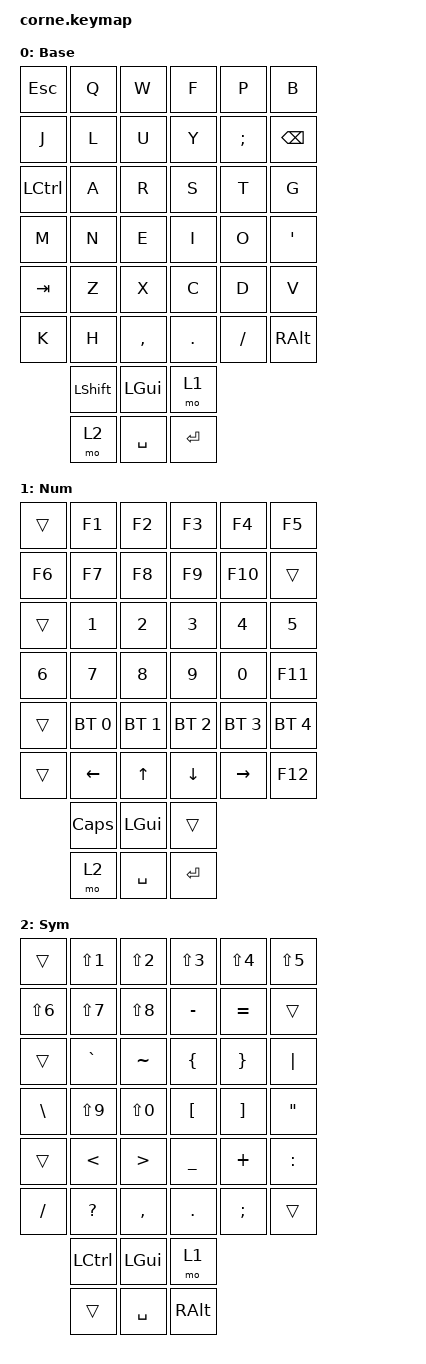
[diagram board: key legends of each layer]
/*
 * Copyright (c) 2020 The ZMK Contributors
 *
 * SPDX-License-Identifier: MIT
 */

#include <behaviors.dtsi>
#include <dt-bindings/zmk/keys.h>
#include <dt-bindings/zmk/bt.h>

/ {
    keymap {
        compatible = "zmk,keymap";

        default_layer {
            display-name = "Base";

            // ---------------------------------------------------------------------
            // | ESC |  Q |  W |  F |  P |  B |   |  J |  L |  U |  Y |  ; | BSPC |
            // | CTRL|  A |  R |  S |  T |  G |   |  M |  N |  E |  I |  O |  '   |
            // | TAB |  Z |  X |  C |  D |  V |   |  K |  H |  , |  . |  / | ALT  |
            //                    |SFT| GUI | NUM|   |SYM | SPC | ENT |
            // ---------------------------------------------------------------------

            bindings = <
                &kp ESC    &kp Q     &kp W     &kp F     &kp P     &kp B
                &kp J      &kp L     &kp U     &kp Y     &kp SEMI  &kp BSPC

                &kp LCTRL  &kp A     &kp R     &kp S     &kp T     &kp G
                &kp M      &kp N     &kp E     &kp I     &kp O     &kp SQT

                &kp TAB    &kp Z     &kp X     &kp C     &kp D     &kp V
                &kp K      &kp H     &kp COMMA  &kp DOT  &kp FSLH  &kp RALT

                           &kp LSHFT &kp LGUI   &mo 1
                           &mo 2     &kp SPACE  &kp RET
            >;
        };

        lower_layer {
            display-name = "Num";

            // ---------------------------------------------------------------------
            // Function keys / Numbers / Bluetooth / Arrows
            // ---------------------------------------------------------------------

            bindings = <
                &trans      &kp F1       &kp F2       &kp F3       &kp F4       &kp F5
                &kp F6      &kp F7       &kp F8       &kp F9       &kp F10      &trans

                &trans      &kp N1       &kp N2       &kp N3       &kp N4       &kp N5
                &kp N6      &kp N7       &kp N8       &kp N9       &kp N0       &kp F11

                &trans     &bt BT_SEL 0 &bt BT_SEL 1 &bt BT_SEL 2 &bt BT_SEL 3 &bt BT_SEL 4
                &trans      &kp LEFT     &kp UP     &kp DOWN       &kp RIGHT    &kp F12       

                             &kp CAPS   &kp LGUI    &trans
                             &mo 2       &kp SPACE   &kp RET
            >;
        };

        raise_layer {
            display-name = "Sym";

            // ---------------------------------------------------------------------
            // ! @ # $ %   ^ & * - =
            // ` ~ { } |   \ ( ) [ ] "
            // < > _ + :   / ? , . ;
            // ---------------------------------------------------------------------

            bindings = <
                &trans      &kp LS(N1)   &kp LS(N2)   &kp LS(N3)   &kp LS(N4)   &kp LS(N5)
                &kp LS(N6)  &kp LS(N7)   &kp LS(N8)   &kp MINUS    &kp EQUAL   &trans

                &trans      &kp GRAVE    &kp TILDE    &kp LBRC     &kp RBRC     &kp PIPE
                &kp BSLH    &kp LS(N9)   &kp LS(N0)   &kp LBKT     &kp RBKT     &kp DQT

                &trans      &kp LT       &kp GT       &kp UNDER    &kp PLUS     &kp COLON
                &kp FSLH    &kp QMARK    &kp COMMA    &kp DOT      &kp SEMI     &trans

                             &kp LCTRL   &kp LGUI     &mo 1
                             &trans      &kp SPACE    &kp RALT
            >;
        };

        extra_1 {
            status = "reserved";
        };

        extra_2 {
            status = "reserved";
        };

        extra_3 {
            status = "reserved";
        };
    };
};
